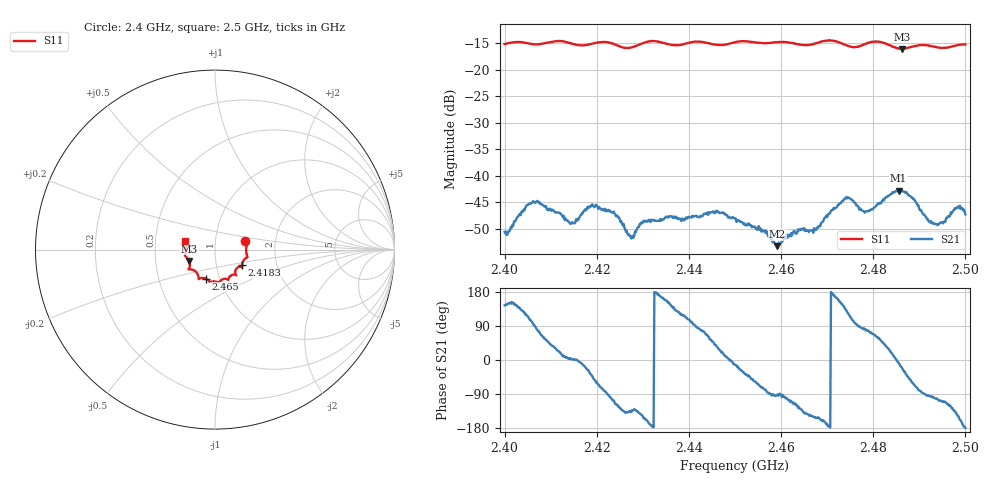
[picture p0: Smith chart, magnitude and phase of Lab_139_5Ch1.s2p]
# Hz S RI R 50
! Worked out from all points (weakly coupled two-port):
!   601 points, 2.4 GHz to 2.5 GHz, reference 50 ohm
!   highest |S21| = -42.79 dB at 2.4855 GHz (marker M1); lowest = -53.3 dB at 2.4592 GHz (marker M2)
!   lowest |S11| = -16.1 dB at 2.4862 GHz (marker M3), VSWR 1.37, Z = 37.2 - j4.85 ohm
!   |S11| at or under -10 dB: start of sweep to end of sweep
!   S12 and S22 are empty: the file has one direction only
!   S11 on the Smith chart (normalised r, x): 2.4 GHz: 1.40, +0.13; 2.4183 GHz: 1.33, -0.24; 2.465 GHz: 0.86, -0.29; 2.5 GHz: 0.71, +0.07
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2.4e9  0.168 0.0467  -0.00241 0.00171  0 0  0 0
2.406667e9  0.1728 0.00135  0.000208 0.00555  0 0  0 0
2.414333e9  0.1702 -0.0484  0.00351 0.000212  0 0  0 0
2.416667e9  0.1549 -0.0679  0.00424 -0.000665  0 0  0 0
2.418333e9  0.1498 -0.0862  0.00427 -0.00259  0 0  0 0
2.423333e9  0.1476 -0.0967  -0.00113 -0.00436  0 0  0 0
2.4275e9  0.1158 -0.1128  -0.00187 -0.00175  0 0  0 0
2.429833e9  0.113 -0.1351  -0.00295 -0.00201  0 0  0 0
2.433333e9  0.1171 -0.1413  -0.00375 0.000415  0 0  0 0
2.445667e9  0.057 -0.1623  0.00352 0.00293  0 0  0 0
2.45e9  0.0256 -0.1796  0.00385 -0.000893  0 0  0 0
2.459167e9  -0.0237 -0.1803  -4.37e-05 -0.00217  0 0  0 0
2.465e9  -0.0524 -0.162  -0.00248 -0.00203  0 0  0 0
2.466667e9  -0.0709 -0.1576  -0.00259 -0.00164  0 0  0 0
2.474167e9  -0.0954 -0.14  -0.00408 0.00479  0 0  0 0
2.478333e9  -0.136 -0.1103  0.000687 0.00456  0 0  0 0
2.483333e9  -0.1416 -0.0971  0.00563 0.00314  0 0  0 0
2.4855e9  -0.1409 -0.0714  0.00719 -0.000952  0 0  0 0
2.486167e9  -0.1436 -0.0636  0.0067 -0.00237  0 0  0 0
2.4935e9  -0.1628 -0.0151  -0.000713 -0.00342  0 0  0 0
2.498333e9  -0.166 0.038  -0.00433 -0.00275  0 0  0 0
2.5e9  -0.1662 0.0474  -0.00432 -5.32e-05  0 0  0 0
